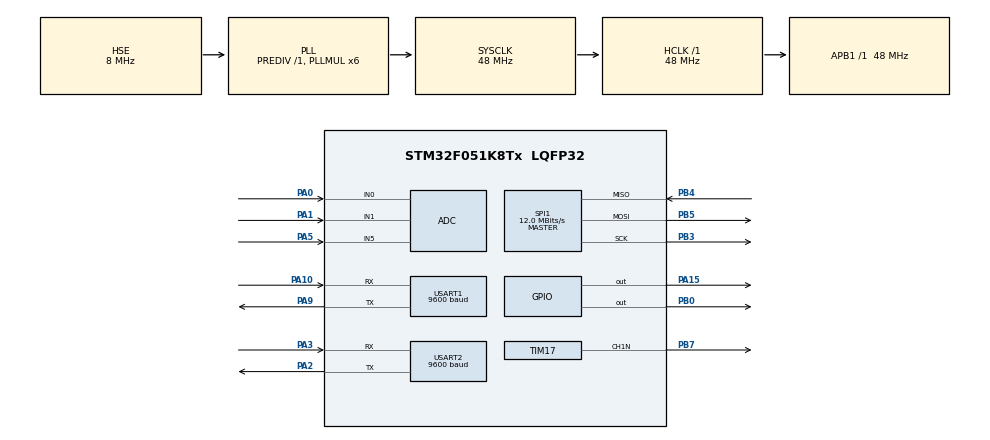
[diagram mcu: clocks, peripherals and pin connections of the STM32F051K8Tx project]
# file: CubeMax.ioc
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ADC.ContinuousConvMode=ENABLE
ADC.DMAContinuousRequests=ENABLE
ADC.SamplingTime=ADC_SAMPLETIME_239CYCLES_5
Dma.ADC.2.Direction=DMA_PERIPH_TO_MEMORY
Dma.ADC.2.Instance=DMA1_Channel1
Dma.ADC.2.MemDataAlignment=DMA_MDATAALIGN_WORD
Dma.ADC.2.MemInc=DMA_MINC_ENABLE
Dma.ADC.2.Mode=DMA_CIRCULAR
Dma.ADC.2.PeriphDataAlignment=DMA_PDATAALIGN_WORD
Dma.ADC.2.PeriphInc=DMA_PINC_DISABLE
Dma.ADC.2.Priority=DMA_PRIORITY_LOW
Dma.Request0=USART1_RX
Dma.Request1=USART1_TX
Dma.Request2=ADC
Dma.USART1_RX.0.Direction=DMA_PERIPH_TO_MEMORY
Dma.USART1_RX.0.Instance=DMA1_Channel3
Dma.USART1_RX.0.MemDataAlignment=DMA_MDATAALIGN_BYTE
Dma.USART1_RX.0.MemInc=DMA_MINC_ENABLE
Dma.USART1_RX.0.Mode=DMA_CIRCULAR
Dma.USART1_RX.0.PeriphDataAlignment=DMA_PDATAALIGN_BYTE
Dma.USART1_RX.0.PeriphInc=DMA_PINC_DISABLE
Dma.USART1_RX.0.Priority=DMA_PRIORITY_LOW
Dma.USART1_TX.1.Direction=DMA_MEMORY_TO_PERIPH
Dma.USART1_TX.1.Instance=DMA1_Channel2
Dma.USART1_TX.1.MemDataAlignment=DMA_MDATAALIGN_BYTE
Dma.USART1_TX.1.MemInc=DMA_MINC_ENABLE
Dma.USART1_TX.1.Mode=DMA_NORMAL
Dma.USART1_TX.1.PeriphDataAlignment=DMA_PDATAALIGN_BYTE
Dma.USART1_TX.1.PeriphInc=DMA_PINC_DISABLE
Dma.USART1_TX.1.Priority=DMA_PRIORITY_LOW
Mcu.Family=STM32F0
Mcu.Name=STM32F051K8Tx
Mcu.Package=LQFP32
NVIC.DMA1_Channel1_IRQn=true\:0\:0\:false\:false\:true\:false\:true
NVIC.DMA1_Channel2_3_IRQn=true\:0\:0\:false\:false\:true\:false\:true
NVIC.TIM1_BRK_UP_TRG_COM_IRQn=true\:0\:0\:false\:false\:true\:true\:true
NVIC.USART1_IRQn=true\:0\:0\:false\:false\:true\:true\:true
NVIC.USART2_IRQn=true\:0\:0\:false\:false\:true\:true\:true
PA0.Mode=IN0
PA0.Signal=ADC_IN0
PA1.Mode=IN1
PA1.Signal=ADC_IN1
PA10.Mode=Asynchronous
PA10.Signal=USART1_RX
PA15.Signal=GPIO_Output
PA2.Mode=Asynchronous
PA2.Signal=USART2_TX
PA3.Mode=Asynchronous
PA3.Signal=USART2_RX
PA5.Mode=IN5
PA5.Signal=ADC_IN5
PA9.Mode=Asynchronous
PA9.Signal=USART1_TX
PB0.PinState=GPIO_PIN_RESET
PB0.Signal=GPIO_Output
PB3.Mode=Full_Duplex_Master
PB3.Signal=SPI1_SCK
PB4.Mode=Full_Duplex_Master
PB4.Signal=SPI1_MISO
PB5.Mode=Full_Duplex_Master
PB5.Signal=SPI1_MOSI
PB7.Mode=PWM Generation1 CH1N
PB7.Signal=TIM17_CH1N
PF0-OSC_IN.Mode=HSE-External-Oscillator
PF0-OSC_IN.Signal=RCC_OSC_IN
PF1-OSC_OUT.Mode=HSE-External-Oscillator
PF1-OSC_OUT.Signal=RCC_OSC_OUT
ProjectManager.HeapSize=0x200
ProjectManager.StackSize=0x400
ProjectManager.TargetToolchain=MDK-ARM V5
RCC.AHBFreq_Value=48000000
RCC.APB1Freq_Value=48000000
RCC.APB1TimFreq_Value=48000000
RCC.HCLKFreq_Value=48000000
RCC.PLLMUL=RCC_PLL_MUL6
RCC.PLLSourceVirtual=RCC_PLLSOURCE_HSE
RCC.SYSCLKFreq_VALUE=48000000
RCC.SYSCLKSource=RCC_SYSCLKSOURCE_PLLCLK
SPI1.BaudRatePrescaler=SPI_BAUDRATEPRESCALER_4
SPI1.CalculateBaudRate=12.0 MBits/s
SPI1.DataSize=SPI_DATASIZE_8BIT
SPI1.Direction=SPI_DIRECTION_2LINES
SPI1.Mode=SPI_MODE_MASTER
SPI1.VirtualType=VM_MASTER
TIM1.AutoReloadPreload=TIM_AUTORELOAD_PRELOAD_ENABLE
TIM1.CounterMode=TIM_COUNTERMODE_DOWN
TIM1.Period=10000
TIM1.Prescaler=4800-1
TIM17.AutoReloadPreload=TIM_AUTORELOAD_PRELOAD_DISABLE
TIM17.Channel=TIM_CHANNEL_1
TIM17.Period=100
TIM17.Prescaler=4800-1
TIM17.Pulse=90
USART1.BaudRate=9600
USART1.VirtualMode-Asynchronous=VM_ASYNC
USART2.BaudRate=9600
USART2.VirtualMode-Asynchronous=VM_ASYNC
VP_TIM17_VS_ClockSourceINT.Mode=Enable_Timer
VP_TIM1_VS_ClockSourceINT.Mode=Internal
board=custom

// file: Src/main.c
/* USER CODE BEGIN Header */
/**
  ******************************************************************************
  * @file           : main.c
  * @brief          : Main program body
  ******************************************************************************
  * @attention
  *
  * <h2><center>&copy; Copyright (c) 2020 STMicroelectronics.
  * All rights reserved.</center></h2>
  *
  * This software component is licensed by ST under BSD 3-Clause license,
  * the "License"; You may not use this file except in compliance with the
  * License. You may obtain a copy of the License at:
  *                        opensource.org/licenses/BSD-3-Clause
  *
  ******************************************************************************
  */
/* USER CODE END Header */

#include "main.h"
#include "adc.h"
#include "dma.h"
#include "spi.h"
#include "tim.h"
#include "usart.h"
#include "gpio.h"

void SystemClock_Config(void);

/* USER CODE BEGIN 0 */
#define SIZE 100
unsigned char dma_buff[SIZE] = {0};
unsigned char recv_buff[10] = {0};

extern int ADC_DMA_Value[ADC_NUM];

int get_key(int a,int *parr)
{
	int i = 0;
	for( i = 0; i < 5; i++)
		if( a < parr[i])
			break;
	//int array[] = {300,1140,1195,2015,2300,3300};
	printf("%d\n",i);
	return i;
}
/* USER CODE END 0 */

int main(void)
{

  /* MCU Configuration--------------------------------------------------------*/

  /* Reset of all peripherals, Initializes the Flash interface and the Systick. */
  HAL_Init();

  /* Configure the system clock */
  SystemClock_Config();

  /* Initialize all configured peripherals */
  MX_GPIO_Init();
  MX_DMA_Init();
  MX_TIM1_Init();
  MX_USART1_UART_Init();
  MX_SPI1_Init();
  MX_TIM17_Init();
  MX_ADC_Init();
  MX_USART2_UART_Init();
  /* USER CODE BEGIN 2 */
  __HAL_UART_ENABLE_IT(&huart2,UART_IT_RXNE);
  HAL_UART_Receive_IT(&huart1,recv_buff,1);
  uint8_t rec_buff[10] = {0};
  __HAL_UART_ENABLE_IT(&huart2,UART_IT_RXNE);
  HAL_UART_Receive_IT(&huart2,rec_buff,1);
  //__HAL_UART_ENABLE_IT(&huart1,UART_IT_IDLE);
  //__HAL_UART_CLEAR_IDLEFLAG(&huart1);

  /*****************************************************
   *
   * HAL_UART_Receive_DMA(&huart1,dma_buff,SIZE);
   *
   ****************************************************/

  /* USER CODE END 2 */

  /* Infinite loop */
  /* USER CODE BEGIN WHILE */
//  Lcd_Init();
//  Lcd_Clear(BLUE);
//  //showimage(1600,39,39,gImage_qq_logo,10,10,49,49);
//  Gui_DrawFont_GBK16(12,64,BLACK,YELLOW,"HELLO");

  //HAL_TIMEx_PWMN_Start(&htim17,TIM_CHANNEL_1);
  char temp = recv_buff[0];
  //HAL_ADC_Start_DMA(&hadc, (uint32_t*)ADC_DMA_Value, 3);

  UNUSED(temp);
  while (1)
  {
    /* USER CODE END WHILE */

    /* USER CODE BEGIN 3 */
	 // printf("helloword\n");
	  HAL_Delay(1000);
	  /*
	if(temp != recv_buff[0])
	{
		printf(" char : %c ,integer : %d ",recv_buff[0],recv_buff[0]);
		temp = *recv_buff;
		switch(recv_buff[0])
		{
			case '0':
				MX_TIM17_Set(4800-1, 100, 10);
				break;
			case '1':
				MX_TIM17_Set(4800-1, 100, 20);
				break;
			case '2':
				MX_TIM17_Set(4800-1, 100, 30);
				break;
			case '3':
				MX_TIM17_Set(4800-1, 100, 40);
				break;
			case '4':
				MX_TIM17_Set(4800-1, 100, 50);
				break;
			case '5':
				MX_TIM17_Set(4800-1, 100, 60);
				break;
			case '6':
				MX_TIM17_Set(4800-1, 100, 70);
				break;
			case '7':
				MX_TIM17_Set(4800-1, 100, 80);
				break;
			case '8':
				MX_TIM17_Set(4800-1, 100, 90);
				break;
			default:
				MX_TIM17_Set(4800-1, 100, 100);
				break;
		}
	    HAL_TIMEx_PWMN_Start(&htim17,TIM_CHANNEL_1);
	}

	int a = ((uint16_t)ADC_DMA_Value[0] *3300)/4096-30;
	printf("a : %d\n",a);
	//printf("BAT : %d,  module :%d\n",ADC_DMA_Value[1],ADC_DMA_Value[2]);
	int array[] = {300,1100,1560,1925,1990,3300};  // down, left, up, push,none

	switch( get_key(a,array) )
	{
	        case 1:
				MX_TIM17_Set(4800-1, 100, 0);
				break;
			case 2:
				MX_TIM17_Set(4800-1, 100, 20);
				break;
			case 3:
				MX_TIM17_Set(4800-1, 100, 40);
				break;
			case 4:
				MX_TIM17_Set(4800-1, 100, 60);
				break;
			case 5:
				MX_TIM17_Set(4800-1, 100, 80);
				break;
			default:
				MX_TIM17_Set(4800-1, 100, 100);
				break;
	}
	HAL_TIMEx_PWMN_Start(&htim17,TIM_CHANNEL_1);
	*/
  //DHT11_TEST();
  //HAL_Delay(2000);
  }

  /* USER CODE END 3 */
}

void SystemClock_Config(void)
{
  RCC_OscInitTypeDef RCC_OscInitStruct = {0};
  RCC_ClkInitTypeDef RCC_ClkInitStruct = {0};
  RCC_PeriphCLKInitTypeDef PeriphClkInit = {0};

  /** Initializes the CPU, AHB and APB busses clocks
  */
  RCC_OscInitStruct.OscillatorType = RCC_OSCILLATORTYPE_HSI14|RCC_OSCILLATORTYPE_HSE;
  RCC_OscInitStruct.HSEState = RCC_HSE_ON;
  RCC_OscInitStruct.HSI14State = RCC_HSI14_ON;
  RCC_OscInitStruct.HSI14CalibrationValue = 16;
  RCC_OscInitStruct.PLL.PLLState = RCC_PLL_ON;
  RCC_OscInitStruct.PLL.PLLSource = RCC_PLLSOURCE_HSE;
  RCC_OscInitStruct.PLL.PLLMUL = RCC_PLL_MUL6;
  RCC_OscInitStruct.PLL.PREDIV = RCC_PREDIV_DIV1;
  if (HAL_RCC_OscConfig(&RCC_OscInitStruct) != HAL_OK)
  {
    Error_Handler();
  }
  /** Initializes the CPU, AHB and APB busses clocks
  */
  RCC_ClkInitStruct.ClockType = RCC_CLOCKTYPE_HCLK|RCC_CLOCKTYPE_SYSCLK
                              |RCC_CLOCKTYPE_PCLK1;
  RCC_ClkInitStruct.SYSCLKSource = RCC_SYSCLKSOURCE_PLLCLK;
  RCC_ClkInitStruct.AHBCLKDivider = RCC_SYSCLK_DIV1;
  RCC_ClkInitStruct.APB1CLKDivider = RCC_HCLK_DIV1;

  if (HAL_RCC_ClockConfig(&RCC_ClkInitStruct, FLASH_LATENCY_1) != HAL_OK)
  {
    Error_Handler();
  }
  PeriphClkInit.PeriphClockSelection = RCC_PERIPHCLK_USART1;
  PeriphClkInit.Usart1ClockSelection = RCC_USART1CLKSOURCE_PCLK1;
  if (HAL_RCCEx_PeriphCLKConfig(&PeriphClkInit) != HAL_OK)
  {
    Error_Handler();
  }
}

void Error_Handler(void)
{
}

/************************ (C) COPYRIGHT STMicroelectronics *****END OF FILE****/
